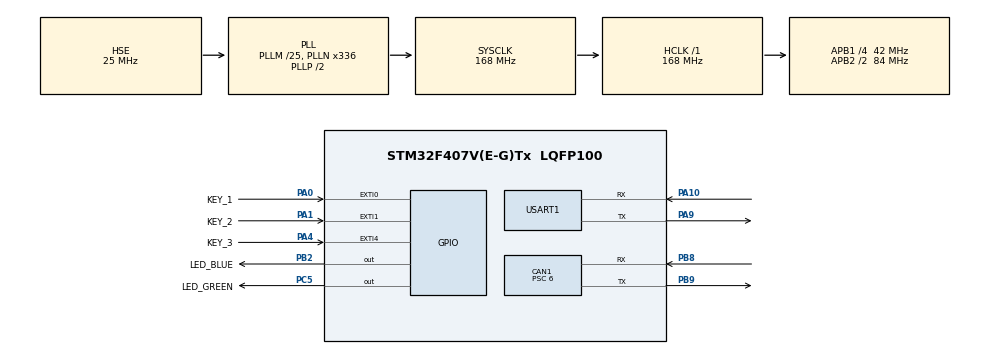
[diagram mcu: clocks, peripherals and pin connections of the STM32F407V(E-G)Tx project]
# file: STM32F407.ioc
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CAN1.BS1=CAN_BS1_5TQ
CAN1.CalculateBaudRate=1000000
CAN1.CalculateTimeBit=1000
CAN1.CalculateTimeQuantum=142.85714285714286
CAN1.Mode=CAN_MODE_NORMAL
CAN1.Prescaler=6
Mcu.Family=STM32F4
Mcu.Name=STM32F407V(E-G)Tx
Mcu.Package=LQFP100
NVIC.CAN1_RX0_IRQn=true\:0\:0\:false\:false\:true\:true\:true\:true
NVIC.EXTI0_IRQn=true\:0\:0\:false\:false\:true\:true\:true\:true
NVIC.EXTI1_IRQn=true\:0\:0\:false\:false\:true\:true\:true\:true
NVIC.EXTI4_IRQn=true\:0\:0\:false\:false\:true\:true\:true\:true
NVIC.PriorityGroup=NVIC_PRIORITYGROUP_4
PA0-WKUP.GPIO_Label=KEY_1
PA0-WKUP.GPIO_ModeDefaultEXTI=GPIO_MODE_IT_RISING
PA0-WKUP.GPIO_PuPd=GPIO_PULLDOWN
PA0-WKUP.Signal=GPXTI0
PA1.GPIO_Label=KEY_2
PA1.GPIO_ModeDefaultEXTI=GPIO_MODE_IT_FALLING
PA1.GPIO_PuPd=GPIO_PULLUP
PA1.Signal=GPXTI1
PA10.Mode=Asynchronous
PA10.Signal=USART1_RX
PA13.Mode=Serial_Wire
PA13.Signal=SYS_JTMS-SWDIO
PA14.Mode=Serial_Wire
PA14.Signal=SYS_JTCK-SWCLK
PA4.GPIO_Label=KEY_3
PA4.GPIO_ModeDefaultEXTI=GPIO_MODE_IT_FALLING
PA4.GPIO_PuPd=GPIO_PULLUP
PA4.Signal=GPXTI4
PA9.Mode=Asynchronous
PA9.Signal=USART1_TX
PB2.GPIO_Label=LED_BLUE
PB2.Signal=GPIO_Output
PB8.Mode=CAN_Activate
PB8.Signal=CAN1_RX
PB9.Mode=CAN_Activate
PB9.Signal=CAN1_TX
PC5.GPIO_Label=LED_GREEN
PC5.Signal=GPIO_Output
PH0-OSC_IN.Mode=HSE-External-Oscillator
PH0-OSC_IN.Signal=RCC_OSC_IN
PH1-OSC_OUT.Mode=HSE-External-Oscillator
PH1-OSC_OUT.Signal=RCC_OSC_OUT
ProjectManager.HeapSize=0x200
ProjectManager.StackSize=0x1000
ProjectManager.TargetToolchain=MDK-ARM V5.32
RCC.48MHZClocksFreq_Value=84000000
RCC.AHBFreq_Value=168000000
RCC.APB1CLKDivider=RCC_HCLK_DIV4
RCC.APB1Freq_Value=42000000
RCC.APB1TimFreq_Value=84000000
RCC.APB2CLKDivider=RCC_HCLK_DIV2
RCC.APB2Freq_Value=84000000
RCC.APB2TimFreq_Value=168000000
RCC.CortexFreq_Value=168000000
RCC.HCLKFreq_Value=168000000
RCC.HSE_VALUE=25000000
RCC.HSI_VALUE=16000000
RCC.LSE_VALUE=32768
RCC.PLLM=25
RCC.PLLN=336
RCC.PLLSourceVirtual=RCC_PLLSOURCE_HSE
RCC.SYSCLKFreq_VALUE=168000000
RCC.SYSCLKSource=RCC_SYSCLKSOURCE_PLLCLK
RCC.VCOOutputFreq_Value=336000000
USART1.VirtualMode=VM_ASYNC
board=custom

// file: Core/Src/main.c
/* USER CODE BEGIN Header */
/***********************************************************************************************************************************
 ** 【代码编写】  魔女开发板团队
 ** 【淘    宝】  魔女开发板       https://demoboard.taobao.com
 ***********************************************************************************************************************************
 ** 【实验名称】  CAN1通信_1Mbps
 **
 ** 【适用平台】  STM32F407 + keil5 + HAL库
 **
 ** 【 CubeMX 】  1- 使用CubeMX开启CAN，
 **               2- 在CAN1的参数页面，配置波特率为500Kbps: Prescaler-6、BS1-4、BS2-2、SJW-1; 工作模式Operating Mode: Normal;
 **               3- 在CAN1的中断页面，打勾中断：CAN1 RX0 interrupts
 **               4- CAN1开启后，默认引脚为PA11+PA12, 修改为PB8_RX、PB9_TX
 **
 ** 【bsp_CAN】   CubeMX配置CAN1并重新生成后，会生成can.c和can.h，并在main.c中调用了MX_CAN1_Init(), 对其所用引脚、CAN配置，都进行了初始化。
 **               用户需要在CubeMX生成的代码基础上，自行增加编写发送、接收的处理代码。
 **               我们把上述CAN通信的自定义代码，写在了自行新建的bsp_CAN.h和bsp_CAN.c文件中; 这样处理，好处有二：
 **               1- 使代码更直观: 底层配置代码原封不动在can.c和h中, 而应用代码则在bsp_CAN.c和h里;
 **               2- 如果后续的工程，CubeMX没有使能CAN，重新生成后会删掉can.c和h文件，如果把自定义通信代码写在其中，也会随文件被删除，不利于代码日后再次使用;
 **
 ** 【移植说明】  1- 复制本工程的CAN文件夹，到目标工程文件夹中;
 **               2- 添加头文件路径： Keil > Option > C/C++ > Include Paths;
 **               3- 添加C文件到工程: Keil > 左侧工程管理器中双击目标文件夹 > 选择 bsp_CAN.c;
 **               4- 添加文件引用:    #include "bsp_CAN.h＂，即哪个文件中需要使用其函数功能，就在其代码文件顶部添加引用;
 **
 ** 【代码使用】  1- 初始化的代码: CubeMX已生成好了，我们无需修改、增删;
 **               2- 筛选器的配置: 在bsp_CAN.c中，已写了一个示例函数，调用即可：接收所有数据帧，包括标准帧和扩展帧
 **               3- 代码开启CAN1: 调用HAL函数 HAL_CAN_Start(&hcan1) ，本函数已在上述自定义的筛选器函数中调用;
 **               4- 发送，已写好一个自定义的发送函数，在函数中配置报文格式，需要发送时数据，调用函数传入数据即可, 可按需修改;
 **               5- 接收，已写好自定义的中断接收回调函数，在bsp_CAN.c中。在接收到新帧后，数据自动转存到xCAN1结构体，外部只需检查xCAN1.RXNum > 0，表示已接收到新数据，使用方法详见main.c中使用示范。
 **               6- 筛选器的配置，是CAN通信中比较难理解的关键点！列表模式、屏蔽模式，刨十来篇网上筛选器配置的文章，必须理解透彻。
 **
 ** 【划 重 点】  CAN1有两组引脚，默认的PA11+PA12、PB8+PB9, 注意不要选错了;
 **               很多人在意波特率的计算理解。新手不用太在意其公式和原理，直接上csdn搜文章、抄参数即可。来来去去都是那几个常用波特率了，没必要费时间。
 **               关于发送，很多教程会讲解发送邮箱的使用，新手们，写好帧格式，直接调用发送函数好了，先完成再完善吧，
 **               关于接收，同上，很多教程会花大量的时间讲解两组三级深度FIFO的原理, 新手们，只管在筛选器中决定用哪个FIFO, 收到数据后迅速处理即可。
 **               筛选器的灵活配置，才是CAN通信学习中的重中之重，比较难理解，建议多刨csdn文章，必须要理解透彻！
 **               关于错误帧、自动离线处理、离线唤醒等，这方面文章比较少。当你项目中需要深度使用CAN时，就需要刨寄存器部分描述了，才能有更深理解。
 **
 *******************************************************************************/
/* USER CODE END Header */
#include "main.h"
#include "can.h"
#include "usart.h"
#include "gpio.h"

/* USER CODE BEGIN Includes */
/* 用户代码，必须写在配对的BEGIN与END之间，否则CubeMX重新生成后，会被删除掉 */

#include "stdio.h"               // 用于sprintf等函数
#include "bsp_UART.h"            // 串口底层文件; 已重写好初始化、收发，调用函数即可使用串口
#include "bsp_CAN.h"             // CAN通信的自定义文件，包插：发送函数、筛选器配置、中断回调函数

/* USER CODE END Includes */

void SystemClock_Config(void);

int main(void)
{
    /* USER CODE BEGIN 1 */

    /* 说明：
     * 1. 不要删除CubeMX生成的注释行（形如 USER CODE BEGIN/END），这些注释用于代码重新生成时的定位
     * 2. 所有用户自定义代码必须写在对应的BEGIN与END注释行之间，否则重新生成时会被覆盖
     * 3. 主要初始化函数说明：
     *    - HAL_Init()            初始化HAL库，配置中断优先级、系统时基等
     *    - SystemClock_Config()  配置系统时钟
     *    - MX_GPIO_Init()        初始化GPIO引脚（仅包含推挽输出、中断触发等配置）
     *    - 外设功能引脚（如UART、SPI等）的初始化在各自的功能文件中
     */

    /* USER CODE END 1 */

    /* MCU Configuration--------------------------------------------------------*/

    /* Reset of all peripherals, Initializes the Flash interface and the Systick. */
    HAL_Init();

    /* Configure the system clock */
    SystemClock_Config();

    /* Initialize all configured peripherals */
    MX_GPIO_Init();
    MX_USART1_UART_Init();
    MX_CAN1_Init();
    /* USER CODE BEGIN 2 */
    /* 用户代码，必须写在配对的BEGIN与END之间 */

    HAL_GPIO_WritePin(LED_GREEN_GPIO_Port, LED_GREEN_Pin, GPIO_PIN_SET);   // 引脚置高电平，红亮灭

    UART1_Init(115200);                                                    // 初始化 串口1; 已写好底层，调用h中的函数即可使用; 引脚(PA9 +PA10)、波特率-None-8-1; 如果使用CubeMX配置，请使用前述引脚，但，不要在MX上进行中断及DMA配置，否则冲突

    CAN1_FilterInit();                                                     // 初始化CAN1的筛选器; 为方便调试，本函数配置为：接收所有数据帧，包括标准帧、扩展帧
    if (HAL_CAN_Start(&hcan1) == HAL_OK)                                   // 启动CAN，并检查返回值：成功-0、错误-1、忙错误-2、超时-3
    {
        printf("CAN1 启动成功! \r");                                       // 启动成功
    }
    else
    {
        printf("CAN1 启动失败! \r");                                       // 启动失败
        printf("检查PB8、PB9是否已连接收发器！\r");
        //Error_Handler();                                                 // 错误处理
    }

    /* USER CODE END 2 */

    /* Infinite loop */
    while (1)
    {

        /* USER CODE BEGIN 3 */
        /* 用户代码，必须写在配对的BEGIN与END之间 */

        /** 1ms延时 **/
        HAL_Delay(1 - 1);                                                               // 延时函数，参数：ms; 特别地：CubeMX生成的HAL_Delay(), 函数内部为避免无效操作，会对传入参数+1，因此，如果只需要几ms延时建议传入参数时-1，如果需要大几百ms的非精准延时，那参数不-1也影响不大

        /** 每500ms规律地闪烁绿色LED, 便于观察程序是否运行、卡死 **/
        static uint32_t lastTime_500ms = 0;                                             // 定义静态变量，用于记录上次执行这个任务的时间点(单位：毫秒)
        if (HAL_GetTick() - lastTime_500ms >= 500)                                      // 检查当前时间距离上次执行是否已经过了500ms; HAL_GetTick()是获取启动后经过的毫秒数;
        {
            HAL_GPIO_TogglePin(GPIOC, GPIO_PIN_5);                                      // 控制绿色LED引脚电平翻转(PC5); 规律地闪烁LED，方便外部观察系统是否正常运行
            lastTime_500ms =   HAL_GetTick();                                           // 记录当前时间，作为新的基准点，为下一次判断做准备
        }

        /** 检查UART1是否收到数据 (串口助手) **/
        if (UART1_GetRxNum())                                                           // 判断USART1是否获取到新一帧数据：函数返回的接收字节数，大于0，即为收到新一帧数据
        {
            // 获取数据
            uint8_t *rxData = UART1_GetRxData();                                        // 获取数据的地址
            uint16_t rxNum = UART1_GetRxNum();                                          // 获取数据的字节数
            // 把收到的数据，printf到串口助手观察
            printf("\r<<<<< USART1 收到一帧数据 \r");                                   // 提示
            printf("字节数：%d \r", rxNum);                                             // 显示字节数
            printf("ASCII : %s\r", (char *)rxData);                                     // 显示数据，以ASCII方式显示，即以字符串的方式显示
            printf("16进制: ");                                                         // 显示数据，以16进制方式，显示每一个字节的值
            for (uint16_t i = 0; i < rxNum; i++)                                        // 逐个字节输出
                printf("0x%X ", rxData[i]);                                             // 以16进制显示
            printf("\r\r");                                                             // 显示换行
            // 通过CAN1转发，方便测试
            if (rxNum > 8)                                                              // 判断字节数是否>8
                rxNum = 8;                                                              // 如果大于8字节，就只发前8字节
            CAN1_SendData(CAN_ID_EXT, 0x123, rxData, rxNum);                            // 把串口助手发过来的数据，通过CAN1，发送到CAN总线
            UART1_ClearRx();                                                            // 重要：清0接收标志，即清0接收到的字节数; 每次处理完成数据，就要调用这个函数清0
        }

        /** 检查CAN1是否收到数据 **/
        if (CAN1_GetRxNum())                                                            // 检查接收字节数是否>0，以判断是否接收到新一帧数据
        {
            static uint16_t  canRxCNT = 1;                                              // 用于计算已接收了多少帧数据; 非必要;
            // 获取数据
            uint8_t  rxNum = CAN1_GetRxNum();                                           // 获取最后一帧的字节数
            uint8_t *rxData = CAN1_GetRxData();                                         // 获取最后一帧的数据(地址)
            CAN_RxHeaderTypeDef rxHeader = CAN1_GetRxHeader();                          // 获取最后一帧的头部信息
            // 把收到的数据，printf到串口助手观察
            printf("\r****** CAN 接收到第%d帧新数据 ******", canRxCNT++);               // 准备把CAN帧报文，详细地输出到串口软件，方便观察调试
            printf("\r 帧类型：%s",   rxHeader.RTR ? "遥控帧" : "数据帧");              // 帧类型
            printf("\r 帧格式：%s",   rxHeader.IDE ? "扩展帧" : "标准帧");              // 帧格式
            printf("\r 标识符：0x%X", rxHeader.IDE ? rxHeader.ExtId : rxHeader.StdId);  // 帧ID
            printf("\r 字节数：%d",   rxHeader.DLC);                                    // 字节数
            printf("\r 筛选器匹配序号：%d", rxHeader.FilterMatchIndex);                 // 筛选器匹配序号; 和筛选器编号，是不一样的。大概：从筛选器0开始，每个16位宽筛选器+2, 32位宽+1, 没有被使用的筛选器，默认是16位宽，+2;
            printf("\r 显示数据(16进制)：");                                            // 16进制方式显示数据，方便观察真实数据
            for (uint8_t i = 0; i < rxNum; i++)                                         // 逐个字节显示CAN的数据值
                printf(" 0x%X ", rxData[i]);                                            // 格式：16进制显示
            printf("\r");                                                               // 换行，以使每帧的输出更清晰
            // 判断数据是否包含某些指令
            if (strstr((char *)rxData, "CAN_Test"))                                     // 判断是否测试工具发过来的指定数据
            {
                static char strTemp[8] = "CAN_OK";                                      // 测试工具约定好的返回数据
                CAN1_SendData(CAN_ID_EXT, 0x123, (uint8_t *)strTemp, 8);                // 发送CAN报文
            }
            // 清0本帧接收
            CAN1_ClearRx();                                                             // 字节数清0; 每次处理完一帧数据，都需要清0接收标志(其实清0的是接收字节数)，以方便下一轮的判断，避免重复处理同一帧数据;
        }

        /** 每500ms发送一帧CAN报文，方便CAN总线上的其它设备测试接收 **/
        static uint16_t msCAN = 0;
        if (++msCAN == 500)                                                             // 每500ms执行一次
        {
            msCAN = 0;                                                                  // 计数清0
            static uint8_t msgData[30] = { 0, 2, 4, 6, 8, 10, 12, 14 };                 // 定义一个简单的数组，用于CAN的发送示范; 这里开辟了30字节的空间，暂时只赋值了前8个字节，后22个字节值为0;
            CAN1_SendData(CAN_ID_EXT, 0x123, msgData, 6);                               // CAN1发送数据(自定义函数)，每500ms一次，以方便外部设备测试接收; CAN每帧最大8字节，这里只发6字节是为了示范：CAN发送的字节数与数组定义的大小，没一毛钱关系。
        }
    }

    /* USER CODE END 3 */
}

void SystemClock_Config(void)
{
    RCC_OscInitTypeDef RCC_OscInitStruct = {0};
    RCC_ClkInitTypeDef RCC_ClkInitStruct = {0};

    /** Configure the main internal regulator output voltage
    */
    __HAL_RCC_PWR_CLK_ENABLE();
    __HAL_PWR_VOLTAGESCALING_CONFIG(PWR_REGULATOR_VOLTAGE_SCALE1);

    /** Initializes the RCC Oscillators according to the specified parameters
    * in the RCC_OscInitTypeDef structure.
    */
    RCC_OscInitStruct.OscillatorType = RCC_OSCILLATORTYPE_HSE;
    RCC_OscInitStruct.HSEState = RCC_HSE_ON;
    RCC_OscInitStruct.PLL.PLLState = RCC_PLL_ON;
    RCC_OscInitStruct.PLL.PLLSource = RCC_PLLSOURCE_HSE;
    RCC_OscInitStruct.PLL.PLLM = 25;
    RCC_OscInitStruct.PLL.PLLN = 336;
    RCC_OscInitStruct.PLL.PLLP = RCC_PLLP_DIV2;
    RCC_OscInitStruct.PLL.PLLQ = 4;
    if (HAL_RCC_OscConfig(&RCC_OscInitStruct) != HAL_OK)
    {
        Error_Handler();
    }

    /** Initializes the CPU, AHB and APB buses clocks
    */
    RCC_ClkInitStruct.ClockType = RCC_CLOCKTYPE_HCLK | RCC_CLOCKTYPE_SYSCLK
                                  | RCC_CLOCKTYPE_PCLK1 | RCC_CLOCKTYPE_PCLK2;
    RCC_ClkInitStruct.SYSCLKSource = RCC_SYSCLKSOURCE_PLLCLK;
    RCC_ClkInitStruct.AHBCLKDivider = RCC_SYSCLK_DIV1;
    RCC_ClkInitStruct.APB1CLKDivider = RCC_HCLK_DIV4;
    RCC_ClkInitStruct.APB2CLKDivider = RCC_HCLK_DIV2;

    if (HAL_RCC_ClockConfig(&RCC_ClkInitStruct, FLASH_LATENCY_5) != HAL_OK)
    {
        Error_Handler();
    }
}

/* USER CODE BEGIN 4 */
/* 所有用户代码，必须写在配对的BEGIN与END之间 */

/******************************************************************************
 * 函  数： HAL_GPIO_EXTI_Callback
 * 功  能： EXTI中断回调函数
 * 参  数： uint16_t  GPIO_Pin    引脚编号，参数范围：GPIO_Pin_0 ~ GPIO_Pin_15
 * 返回值： 无
 * 备  注： CubeMX生成的代码在思维和风格上，与使用标准库编写时有很大的区别：
 *          1：这个是回调函数，不是中断服务函数。完整的调用：EXTIx_IRQHandler() > HAL_GPIO_EXTI_IRQHandler(GPIO_PIN_x) > HAL_GPIO_EXTI_Callback(GPIO_PIN_x)
 *          2：必须使用这个函数名称，因为它在CubeMX生成时，已被写好了各种函数调用、函数弱定义(在stm32xx_hal_gpio.c的底部); 不建议在原弱定义中增添代码，而是重写本函数
 *          3：中断条件触发后，本函数被自动调用，无需进行人工调用; 也无需进行中断标志的清理，因为HAL_GPIO_EXTI_IRQHandler()函数中已有操作;
 *          4：生成的所有EXTI中断服务函数，都统一调用这个函数，以引脚编号作参数
 *          5：判断参数传进来的引脚编号，即可知道是哪个外部中断线产生的中断信号
******************************************************************************/
void HAL_GPIO_EXTI_Callback(uint16_t GPIO_Pin)
{
    if (GPIO_Pin == KEY_1_Pin)                                  // 按键1 产生的中断信号：KEY_1、PA0、闲时下拉、按下时高电平、上升沿触发
    {
        HAL_GPIO_TogglePin(GPIOB, GPIO_PIN_2);                  // 反转蓝色LED灯
        printf("KEY_1 按下\r");                                 // 通过串口助手输出提示
    }

    if (GPIO_Pin == KEY_2_Pin)                                  // 按键2 产生的中断信号：KEY_2、PA1、闲时上拉、按下时低电平、下降沿触发
    {
        HAL_GPIO_TogglePin(GPIOB, GPIO_PIN_2);                  // 反转蓝色LED灯
        printf("KEY_2 按下\r");                                 // 通过串口助手输出提示
    }

    if (GPIO_Pin == KEY_3_Pin)                                  // 按键3 产生的中断信号：KEY_3、PA4、闲时上拉、按下低高电平、下降沿触发
    {
        HAL_GPIO_TogglePin(GPIOB, GPIO_PIN_2);                  // 反转蓝色LED灯
        printf("KEY_3 按下\r");                                 // 通过串口助手输出提示
    }

}

/* USER CODE END 4 */

void Error_Handler(void)
{
    __disable_irq();
    while (1)
    {
    }
}
